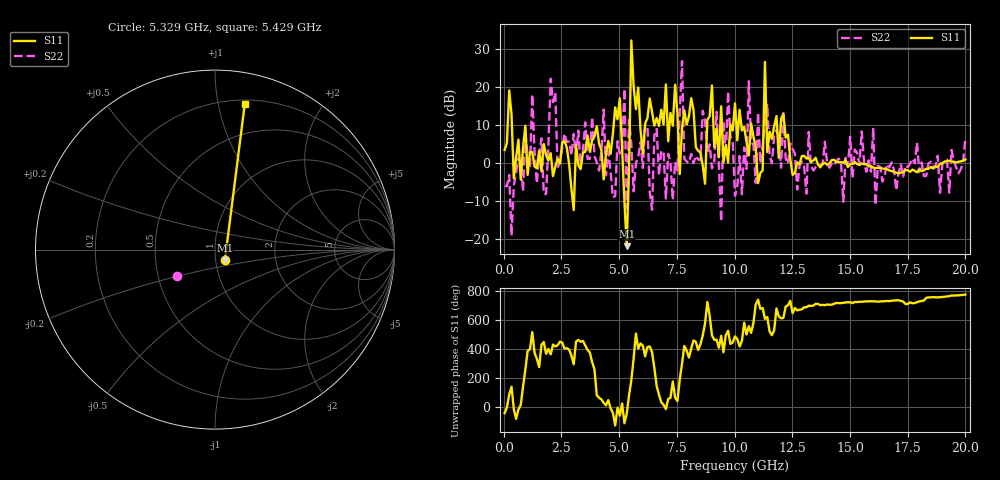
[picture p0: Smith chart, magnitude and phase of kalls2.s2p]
! Micran, Research & Production Company
! Date: 2025-04-14 15:06:58
! Frequency	S11	S21	S12	S22
# Hz S dB R 50
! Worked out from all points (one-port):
!   201 points, 40 MHz to 20 GHz, reference 50 ohm
!   lowest |S11| = -21.8 dB at 5.329 GHz (marker M1), VSWR 1.18, Z = 55.4 - j6.71 ohm
!   |S11| at or under -10 dB: 2.993 GHz to 3.047 GHz (53.79 MHz wide, 1.78 % of centre); 5.231 GHz to 5.388 GHz (156.7 MHz wide, 2.95 % of centre)
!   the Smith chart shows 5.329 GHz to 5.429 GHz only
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4e7  3.57 -42.6  -200.00 0.0  -200.00 0.0  -5.88 -1.5
3.4332e9  2.82 96.1  -200.00 0.0  -200.00 0.0  3.19 27.1
5.3294e9  -21.77 -47.5  -200.00 0.0  -200.00 0.0  -11.75 -145.1
5.4292e9  -1.66 78.4  -200.00 0.0  -200.00 0.0  11.45 -148.7
5.529e9  32.36 -174.2  -200.00 0.0  -200.00 0.0  5.00 25.8
5.6288e9  20.29 -24.4  -200.00 0.0  -200.00 0.0  -7.33 75.1
5.7286e9  14.28 146.8  -200.00 0.0  -200.00 0.0  0.14 -17.9
5.8284e9  19.96 43.5  -200.00 0.0  -200.00 0.0  1.70 -102.1
6.7266e9  9.88 85.2  -200.00 0.0  -200.00 0.0  -3.14 -112.0
7.026e9  20.78 -15.1  -200.00 0.0  -200.00 0.0  -9.24 -96.8
7.4252e9  20.72 65.4  -200.00 0.0  -200.00 0.0  0.38 65.0
7.6248e9  -2.80 -172.3  -200.00 0.0  -200.00 0.0  13.22 175.6
7.7246e9  9.31 -61.6  -200.00 0.0  -200.00 0.0  26.93 -97.4
7.8244e9  13.97 61.5  -200.00 0.0  -200.00 0.0  1.24 -113.5
1.002e10  15.83 128.0  -200.00 0.0  -200.00 0.0  -8.50 90.4
1.06188e10  2.13 -161.7  -200.00 0.0  -200.00 0.0  21.63 105.2
1.12176e10  -1.82 -35.6  -200.00 0.0  -200.00 0.0  4.58 -171.0
1.13174e10  26.71 -110.5  -200.00 0.0  -200.00 0.0  10.70 149.9
1.1517e10  8.32 163.0  -200.00 0.0  -200.00 0.0  2.41 91.5
1.34132e10  0.81 -19.4  -200.00 0.0  -200.00 0.0  -1.86 -48.1
1.67066e10  -1.84 11.6  -200.00 0.0  -200.00 0.0  -1.05 19.9
2e10  1.05 57.3  -200.00 0.0  -200.00 0.0  6.84 21.6
